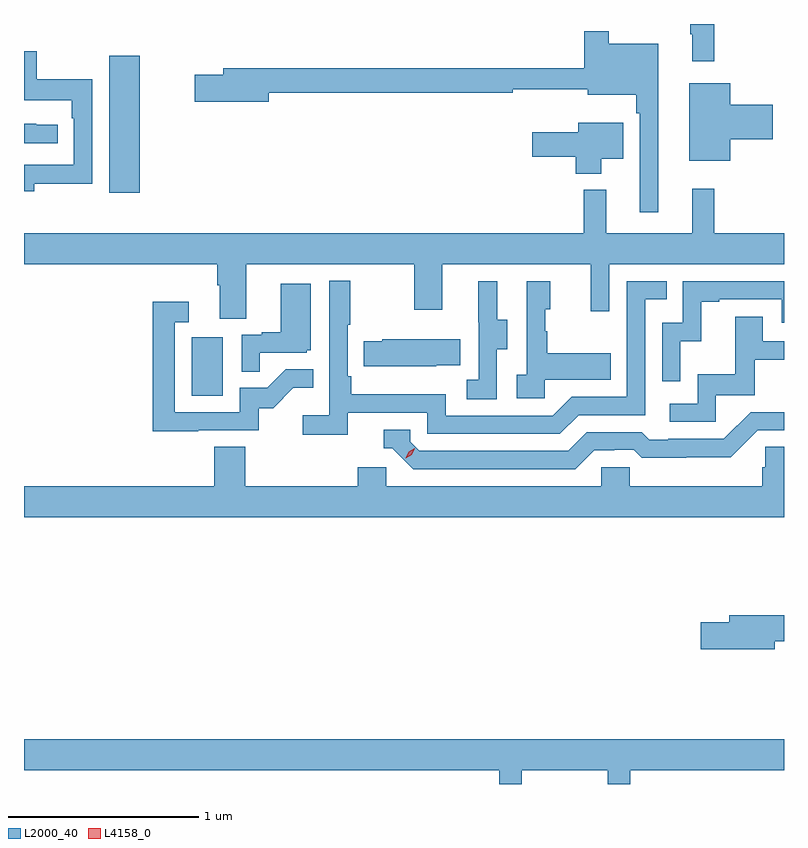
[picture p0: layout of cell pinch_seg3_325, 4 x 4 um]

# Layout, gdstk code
import gdstk
lib = gdstk.Library(unit=1e-6, precision=1e-09)
def R(c, l, rs):  # rectangles x0, y0, x1, y1
    for r in rs: c.add(gdstk.rectangle(r[:2], r[2:], *l))
def P(c, l, *ps):  # polygons
    for p in ps: c.add(gdstk.Polygon(p, *l))
L2000_40 = (2000, 40)
L4158_0 = (4158, 0)

pinch_seg3_325 = lib.new_cell('pinch_seg3_325')
R(pinch_seg3_325, L2000_40, [(1008.254,709.548,1008.418,709.855), (1007.819,710.616,1007.98,711.337)])
P(pinch_seg3_325, L2000_40, [(1011.005,711.504),(1010.877,711.504),(1010.877,711.449),(1010.888,711.449),(1010.888,711.309),(1011.005,711.309)],
  [(1010.71,711.4),(1010.449,711.4),(1010.449,711.466),(1010.32,711.466),(1010.32,711.271),(1008.419,711.271),(1008.419,711.237),(1008.27,711.237),(1008.27,711.095),(1008.658,711.095),(1008.658,711.142),(1009.943,711.142),(1009.943,711.16),(1010.339,711.16),(1010.339,711.131),(1010.593,711.131),(1010.593,711.035),(1010.613,711.035),(1010.613,710.514),(1010.71,710.514)],
  [(1007.425,710.662),(1007.73,710.662),(1007.73,711.214),(1007.437,711.214),(1007.437,711.36),(1007.371,711.36),(1007.371,711.104),(1007.621,711.104),(1007.621,711.008),(1007.634,711.008),(1007.634,710.763),(1007.371,710.763),(1007.371,710.624),(1007.425,710.624)],
  [(1011.088,710.897),(1011.313,710.897),(1011.313,711.08),(1011.088,711.08),(1011.088,711.193),(1010.873,711.193),(1010.873,710.783),(1011.088,710.783)],
  [(1010.41,710.795),(1010.524,710.795),(1010.524,710.983),(1010.288,710.983),(1010.288,710.935),(1010.046,710.935),(1010.046,710.806),(1010.276,710.806),(1010.276,710.717),(1010.41,710.717)],
  [(1007.548,710.973),(1007.435,710.973),(1007.435,710.978),(1007.371,710.978),(1007.371,710.877),(1007.548,710.877)],
  [(1008.541,710.24),(1009.426,710.24),(1009.426,710.001),(1009.573,710.001),(1009.573,710.24),(1010.354,710.24),(1010.354,709.992),(1010.451,709.992),(1010.451,710.24),(1011.371,710.24),(1011.371,710.404),(1011.005,710.404),(1011.005,710.638),(1010.888,710.638),(1010.888,710.404),(1010.435,710.404),(1010.435,710.632),(1010.317,710.632),(1010.317,710.404),(1007.371,710.404),(1007.371,710.24),(1008.389,710.24),(1008.389,710.128),(1008.401,710.128),(1008.401,709.954),(1008.541,709.954)],
  [(1009.076,709.458),(1009.494,709.458),(1009.494,709.347),(1010.191,709.347),(1010.29,709.446),(1010.64,709.446),(1010.64,710.055),(1010.753,710.055),(1010.753,710.151),(1010.544,710.151),(1010.544,709.542),(1010.253,709.542),(1010.154,709.443),(1009.59,709.443),(1009.59,709.555),(1009.094,709.555),(1009.094,709.651),(1009.074,709.651),(1009.074,709.921),(1009.087,709.921),(1009.087,710.152),(1008.978,710.152),(1008.978,709.444),(1008.837,709.444),(1008.837,709.342),(1009.076,709.342)],
  [(1010.826,709.835),(1010.936,709.835),(1010.936,710.043),(1011.031,710.043),(1011.031,710.055),(1011.36,710.055),(1011.36,709.932),(1011.371,709.932),(1011.371,710.151),(1010.838,710.151),(1010.838,709.932),(1010.73,709.932),(1010.73,709.623),(1010.826,709.623)],
  [(1009.86,709.792),(1009.915,709.792),(1009.915,709.947),(1009.861,709.947),(1009.861,710.149),(1009.763,710.149),(1009.763,709.935),(1009.764,709.935),(1009.764,709.631),(1009.701,709.631),(1009.701,709.528),(1009.86,709.528)],
  [(1010.112,709.631),(1010.459,709.631),(1010.459,709.771),(1010.125,709.771),(1010.125,709.886),(1010.115,709.886),(1010.115,710.004),(1010.14,710.004),(1010.14,710.149),(1010.016,710.149),(1010.016,709.658),(1009.965,709.658),(1009.965,709.533),(1010.112,709.533)],
  [(1008.611,709.773),(1008.858,709.773),(1008.858,709.788),(1008.88,709.788),(1008.88,710.137),(1008.722,710.137),(1008.722,709.882),(1008.623,709.882),(1008.623,709.869),(1008.516,709.869),(1008.516,709.675),(1008.611,709.675)],
  [(1008.287,709.365),(1008.606,709.365),(1008.606,709.482),(1008.682,709.482),(1008.789,709.589),(1008.893,709.589),(1008.893,709.688),(1008.749,709.688),(1008.651,709.59),(1008.507,709.59),(1008.507,709.461),(1008.165,709.461),(1008.165,709.935),(1008.238,709.935),(1008.238,710.041),(1008.049,710.041),(1008.049,709.36),(1008.287,709.36)],
  [(1011.012,709.551),(1011.217,709.551),(1011.217,709.737),(1011.371,709.737),(1011.371,709.833),(1011.259,709.833),(1011.259,709.963),(1011.115,709.963),(1011.115,709.66),(1010.916,709.66),(1010.916,709.506),(1010.769,709.506),(1010.769,709.41),(1011.012,709.41)],
  [(1009.542,709.709),(1009.667,709.709),(1009.667,709.846),(1009.257,709.846),(1009.257,709.833),(1009.159,709.833),(1009.159,709.703),(1009.542,709.703)],
  [(1010.371,709.26),(1010.478,709.26),(1010.478,709.263),(1010.581,709.263),(1010.623,709.221),(1010.856,709.221),(1010.856,709.223),(1011.092,709.223),(1011.234,709.365),(1011.371,709.365),(1011.371,709.461),(1011.195,709.461),(1011.054,709.32),(1010.761,709.32),(1010.761,709.317),(1010.662,709.317),(1010.623,709.356),(1010.334,709.356),(1010.235,709.257),(1009.452,709.257),(1009.404,709.305),(1009.404,709.368),(1009.265,709.368),(1009.265,709.272),(1009.308,709.272),(1009.419,709.161),(1010.272,709.161)],
  [(1011.371,709.28),(1011.271,709.28),(1011.271,709.17),(1011.257,709.17),(1011.257,709.072),(1010.559,709.072),(1010.559,709.17),(1010.409,709.17),(1010.409,709.072),(1009.278,709.072),(1009.278,709.17),(1009.127,709.17),(1009.127,709.072),(1008.536,709.072),(1008.536,709.28),(1008.371,709.28),(1008.371,709.072),(1007.371,709.072),(1007.371,708.908),(1011.371,708.908)],
  [(1011.322,708.256),(1011.371,708.256),(1011.371,708.392),(1011.083,708.392),(1011.083,708.356),(1010.934,708.356),(1010.934,708.214),(1011.322,708.214)],
  [(1009.991,707.576),(1010.444,707.576),(1010.444,707.504),(1010.561,707.504),(1010.561,707.576),(1011.371,707.576),(1011.371,707.74),(1007.371,707.74),(1007.371,707.576),(1009.873,707.576),(1009.873,707.504),(1009.991,707.504)])
P(pinch_seg3_325, L4158_0, [(1009.38,709.219),(1009.38,709.22),(1009.397,709.252),(1009.428,709.271),(1009.428,709.271),(1009.428,709.27),(1009.412,709.238),(1009.381,709.219)])

lib.write_gds('pinch_seg3_325.gds')
